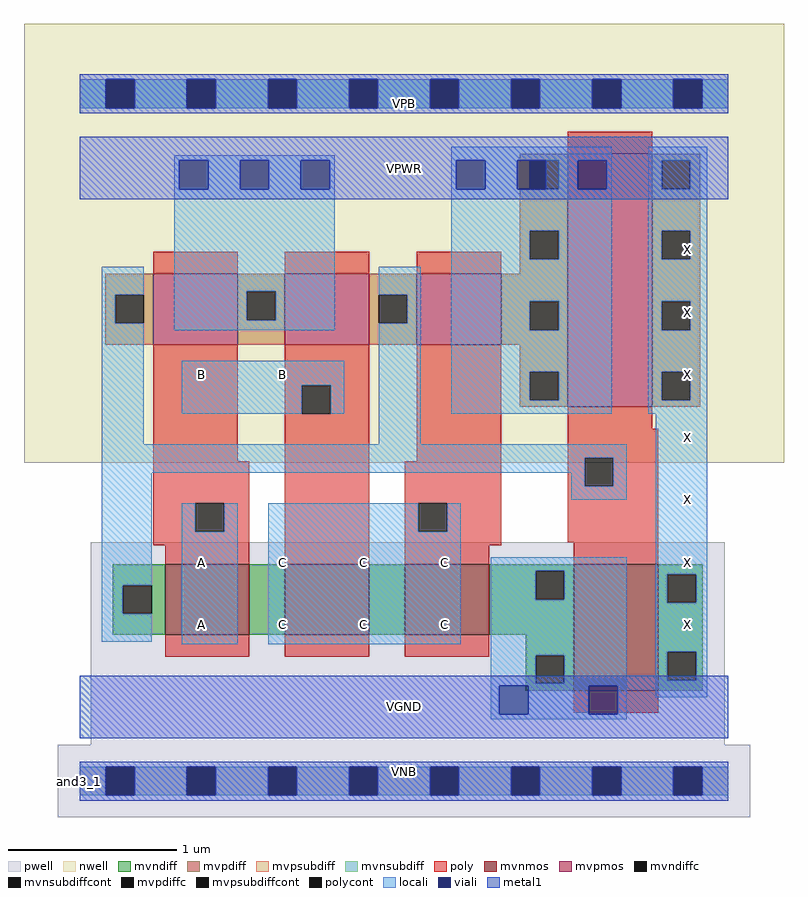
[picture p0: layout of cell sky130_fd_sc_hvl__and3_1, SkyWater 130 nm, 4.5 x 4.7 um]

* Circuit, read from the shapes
.subckt sky130_fd_sc_hvl__and3_1 A B C VGND VNB VPB VPWR X
XM1 n1 A n2 VNB sky130_fd_pr__nfet_g5v0d10v5 w=0.42 l=0.5
XM2 n3 B n1 VNB sky130_fd_pr__nfet_g5v0d10v5 w=0.42 l=0.5
XM3 VGND C n3 VNB sky130_fd_pr__nfet_g5v0d10v5 w=0.42 l=0.5
XM4 X n2 VGND VNB sky130_fd_pr__nfet_g5v0d10v5 w=0.75 l=0.5
XM5 VPWR A n2 VPB sky130_fd_pr__pfet_g5v0d10v5 w=0.42 l=0.5
XM6 n2 B VPWR VPB sky130_fd_pr__pfet_g5v0d10v5 w=0.42 l=0.5
XM7 VPWR C n2 VPB sky130_fd_pr__pfet_g5v0d10v5 w=0.42 l=0.5
XM8 X n2 VPWR VPB sky130_fd_pr__pfet_g5v0d10v5 w=1.5 l=0.5
.ends

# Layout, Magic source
magic
tech sky130B
magscale 1 2
<< nwell >>
rect -66 377 834 897
<< pwell >>
rect 13 43 764 283
rect -26 -43 794 43
<< mvnmos >>
rect 101 173 201 257
rect 243 173 343 257
rect 385 173 485 257
rect 585 107 685 257
<< mvpmos >>
rect 87 517 187 601
rect 243 517 343 601
rect 399 517 499 601
rect 578 443 678 743
<< mvndiff >>
rect 39 232 101 257
rect 39 198 51 232
rect 85 198 101 232
rect 39 173 101 198
rect 201 173 243 257
rect 343 173 385 257
rect 485 249 585 257
rect 485 215 540 249
rect 574 215 585 249
rect 485 173 585 215
rect 528 149 585 173
rect 528 115 540 149
rect 574 115 585 149
rect 528 107 585 115
rect 685 245 738 257
rect 685 211 696 245
rect 730 211 738 245
rect 685 153 738 211
rect 685 119 696 153
rect 730 119 738 153
rect 685 107 738 119
<< mvpdiff >>
rect 521 735 578 743
rect 521 701 533 735
rect 567 701 578 735
rect 521 652 578 701
rect 521 618 533 652
rect 567 618 578 652
rect 521 601 578 618
rect 30 576 87 601
rect 30 542 42 576
rect 76 542 87 576
rect 30 517 87 542
rect 187 580 243 601
rect 187 546 198 580
rect 232 546 243 580
rect 187 517 243 546
rect 343 576 399 601
rect 343 542 354 576
rect 388 542 399 576
rect 343 517 399 542
rect 499 568 578 601
rect 499 534 533 568
rect 567 534 578 568
rect 499 517 578 534
rect 521 485 578 517
rect 521 451 533 485
rect 567 451 578 485
rect 521 443 578 451
rect 678 735 735 743
rect 678 701 689 735
rect 723 701 735 735
rect 678 652 735 701
rect 678 618 689 652
rect 723 618 735 652
rect 678 568 735 618
rect 678 534 689 568
rect 723 534 735 568
rect 678 485 735 534
rect 678 451 689 485
rect 723 451 735 485
rect 678 443 735 451
<< mvndiffc >>
rect 51 198 85 232
rect 540 215 574 249
rect 540 115 574 149
rect 696 211 730 245
rect 696 119 730 153
<< mvpdiffc >>
rect 533 701 567 735
rect 533 618 567 652
rect 42 542 76 576
rect 198 546 232 580
rect 354 542 388 576
rect 533 534 567 568
rect 533 451 567 485
rect 689 701 723 735
rect 689 618 723 652
rect 689 534 723 568
rect 689 451 723 485
<< mvpsubdiff >>
rect 0 -17 31 17
rect 65 -17 127 17
rect 161 -17 223 17
rect 257 -17 319 17
rect 353 -17 415 17
rect 449 -17 511 17
rect 545 -17 607 17
rect 641 -17 703 17
rect 737 -17 768 17
<< mvnsubdiff >>
rect 0 797 31 831
rect 65 797 127 831
rect 161 797 223 831
rect 257 797 319 831
rect 353 797 415 831
rect 449 797 511 831
rect 545 797 607 831
rect 641 797 703 831
rect 737 797 768 831
<< mvpsubdiffcont >>
rect 31 -17 65 17
rect 127 -17 161 17
rect 223 -17 257 17
rect 319 -17 353 17
rect 415 -17 449 17
rect 511 -17 545 17
rect 607 -17 641 17
rect 703 -17 737 17
<< mvnsubdiffcont >>
rect 31 797 65 831
rect 127 797 161 831
rect 223 797 257 831
rect 319 797 353 831
rect 415 797 449 831
rect 511 797 545 831
rect 607 797 641 831
rect 703 797 737 831
<< poly >>
rect 578 743 678 769
rect 87 601 187 627
rect 243 601 343 627
rect 399 601 499 627
rect 87 379 187 517
rect 243 469 343 517
rect 243 435 263 469
rect 297 435 343 469
rect 87 329 201 379
rect 87 295 137 329
rect 171 295 201 329
rect 87 279 201 295
rect 101 257 201 279
rect 243 257 343 435
rect 399 379 499 517
rect 385 329 499 379
rect 385 295 401 329
rect 435 295 499 329
rect 385 279 499 295
rect 578 417 678 443
rect 578 383 685 417
rect 578 349 598 383
rect 632 349 685 383
rect 578 283 685 349
rect 385 257 485 279
rect 585 257 685 283
rect 101 147 201 173
rect 243 147 343 173
rect 385 147 485 173
rect 585 81 685 107
<< polycont >>
rect 263 435 297 469
rect 137 295 171 329
rect 401 295 435 329
rect 598 349 632 383
<< locali >>
rect 0 797 31 831
rect 65 797 127 831
rect 161 797 223 831
rect 257 797 319 831
rect 353 797 415 831
rect 449 797 511 831
rect 545 797 607 831
rect 641 797 703 831
rect 737 797 768 831
rect 112 735 302 741
rect 112 701 118 735
rect 152 701 190 735
rect 224 701 262 735
rect 296 701 302 735
rect 26 576 76 609
rect 26 542 42 576
rect 26 399 76 542
rect 112 580 302 701
rect 440 735 630 751
rect 440 701 446 735
rect 480 701 518 735
rect 567 701 590 735
rect 624 701 630 735
rect 440 652 630 701
rect 440 618 533 652
rect 567 618 630 652
rect 112 546 198 580
rect 232 546 302 580
rect 112 534 302 546
rect 354 576 404 609
rect 388 542 404 576
rect 121 469 313 498
rect 121 435 263 469
rect 297 435 313 469
rect 354 399 404 542
rect 440 568 630 618
rect 440 534 533 568
rect 567 534 630 568
rect 440 485 630 534
rect 440 451 533 485
rect 567 451 630 485
rect 440 435 630 451
rect 673 735 743 751
rect 673 701 689 735
rect 723 701 743 735
rect 673 652 743 701
rect 673 618 689 652
rect 723 618 743 652
rect 673 568 743 618
rect 673 534 689 568
rect 723 534 743 568
rect 673 485 743 534
rect 673 451 689 485
rect 723 451 743 485
rect 673 435 743 451
rect 26 383 648 399
rect 26 365 598 383
rect 26 232 85 365
rect 582 349 598 365
rect 632 349 648 383
rect 582 333 648 349
rect 26 198 51 232
rect 26 165 85 198
rect 121 295 137 329
rect 171 295 187 329
rect 121 162 187 295
rect 223 295 401 329
rect 435 295 451 329
rect 223 162 451 295
rect 487 249 648 265
rect 487 215 540 249
rect 574 215 648 249
rect 487 149 648 215
rect 487 115 540 149
rect 574 115 648 149
rect 487 113 648 115
rect 487 79 497 113
rect 531 79 603 113
rect 637 79 648 113
rect 682 245 743 435
rect 682 211 696 245
rect 730 211 743 245
rect 682 153 743 211
rect 682 119 696 153
rect 730 119 743 153
rect 682 99 743 119
rect 487 73 648 79
rect 0 -17 31 17
rect 65 -17 127 17
rect 161 -17 223 17
rect 257 -17 319 17
rect 353 -17 415 17
rect 449 -17 511 17
rect 545 -17 607 17
rect 641 -17 703 17
rect 737 -17 768 17
<< viali >>
rect 31 797 65 831
rect 127 797 161 831
rect 223 797 257 831
rect 319 797 353 831
rect 415 797 449 831
rect 511 797 545 831
rect 607 797 641 831
rect 703 797 737 831
rect 118 701 152 735
rect 190 701 224 735
rect 262 701 296 735
rect 446 701 480 735
rect 518 701 533 735
rect 533 701 552 735
rect 590 701 624 735
rect 497 79 531 113
rect 603 79 637 113
rect 31 -17 65 17
rect 127 -17 161 17
rect 223 -17 257 17
rect 319 -17 353 17
rect 415 -17 449 17
rect 511 -17 545 17
rect 607 -17 641 17
rect 703 -17 737 17
<< metal1 >>
rect 0 831 768 837
rect 0 797 31 831
rect 65 797 127 831
rect 161 797 223 831
rect 257 797 319 831
rect 353 797 415 831
rect 449 797 511 831
rect 545 797 607 831
rect 641 797 703 831
rect 737 797 768 831
rect 0 791 768 797
rect 0 735 768 763
rect 0 701 118 735
rect 152 701 190 735
rect 224 701 262 735
rect 296 701 446 735
rect 480 701 518 735
rect 552 701 590 735
rect 624 701 768 735
rect 0 689 768 701
rect 0 113 768 125
rect 0 79 497 113
rect 531 79 603 113
rect 637 79 768 113
rect 0 51 768 79
rect 0 17 768 23
rect 0 -17 31 17
rect 65 -17 127 17
rect 161 -17 223 17
rect 257 -17 319 17
rect 353 -17 415 17
rect 449 -17 511 17
rect 545 -17 607 17
rect 641 -17 703 17
rect 737 -17 768 17
rect 0 -23 768 -17
<< labels >>
rlabel comment s 0 0 0 0 4 and3_1
flabel metal1 s 0 51 768 125 0 FreeSans 340 0 0 0 VGND
port 4 nsew ground bidirectional
flabel metal1 s 0 0 768 23 0 FreeSans 340 0 0 0 VNB
port 5 nsew ground bidirectional
flabel metal1 s 0 689 768 763 0 FreeSans 340 0 0 0 VPWR
port 7 nsew power bidirectional
flabel metal1 s 0 791 768 814 0 FreeSans 340 0 0 0 VPB
port 6 nsew power bidirectional
flabel locali s 127 168 161 202 0 FreeSans 340 0 0 0 A
port 1 nsew signal input
flabel locali s 127 242 161 276 0 FreeSans 340 0 0 0 A
port 1 nsew signal input
flabel locali s 127 464 161 498 0 FreeSans 340 0 0 0 B
port 2 nsew signal input
flabel locali s 223 464 257 498 0 FreeSans 340 0 0 0 B
port 2 nsew signal input
flabel locali s 223 168 257 202 0 FreeSans 340 0 0 0 C
port 3 nsew signal input
flabel locali s 223 242 257 276 0 FreeSans 340 0 0 0 C
port 3 nsew signal input
flabel locali s 319 168 353 202 0 FreeSans 340 0 0 0 C
port 3 nsew signal input
flabel locali s 319 242 353 276 0 FreeSans 340 0 0 0 C
port 3 nsew signal input
flabel locali s 415 168 449 202 0 FreeSans 340 0 0 0 C
port 3 nsew signal input
flabel locali s 415 242 449 276 0 FreeSans 340 0 0 0 C
port 3 nsew signal input
flabel locali s 703 168 737 202 0 FreeSans 340 0 0 0 X
port 8 nsew signal output
flabel locali s 703 242 737 276 0 FreeSans 340 0 0 0 X
port 8 nsew signal output
flabel locali s 703 316 737 350 0 FreeSans 340 0 0 0 X
port 8 nsew signal output
flabel locali s 703 390 737 424 0 FreeSans 340 0 0 0 X
port 8 nsew signal output
flabel locali s 703 464 737 498 0 FreeSans 340 0 0 0 X
port 8 nsew signal output
flabel locali s 703 538 737 572 0 FreeSans 340 0 0 0 X
port 8 nsew signal output
flabel locali s 703 612 737 646 0 FreeSans 340 0 0 0 X
port 8 nsew signal output
<< properties >>
string FIXED_BBOX 0 0 768 814
string GDS_END 813630
string GDS_FILE $PDKPATH/libs.ref/sky130_fd_sc_hvl/gds/sky130_fd_sc_hvl.gds
string GDS_START 803460
string LEFclass CORE
string LEFsite unithv
string LEFsymmetry X Y
<< end >>
